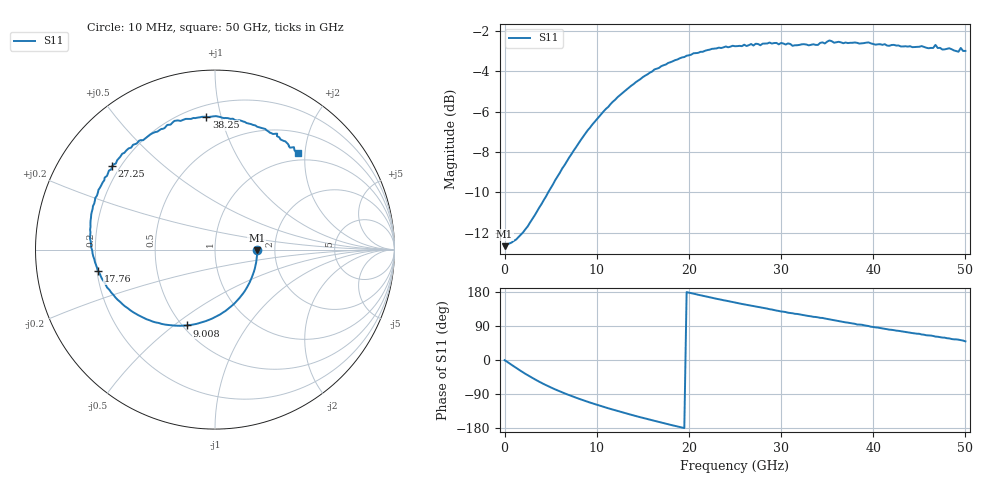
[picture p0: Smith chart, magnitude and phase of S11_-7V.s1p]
!Agilent Technologies,N5227A,US51270434,A.10.00.00
!Agilent N5227A: A.10.00.00
!Date: Thursday, February 26, 2026 12:01:23
!Correction: S11(Full 1 Port(1))
!S1P File: Measurement: S11:
# Hz S  dB  R 50
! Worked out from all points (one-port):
!   201 points, 10 MHz to 50 GHz, reference 50 ohm
!   lowest |S11| = -12.7 dB at 10 MHz (marker M1), VSWR 1.61, Z = 80.3 - j0.377 ohm
!   |S11| at or under -10 dB: start of sweep to 4.733 GHz
!   S11 on the Smith chart (normalised r, x): 10 MHz: 1.61, -0.01; 9.008 GHz: 0.53, -0.56; 17.76 GHz: 0.21, -0.09; 27.25 GHz: 0.17, +0.35; 38.25 GHz: 0.27, +0.90; 50 GHz: 0.86, +1.86
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1e7  -12.66 -0.5
1.5097e9  -12.21 -24.9
3.0094e9  -11.32 -47.2
4.75905e9  -9.98 -69.4
6.25875e9  -8.81 -85.5
9.0082e9  -6.93 -110.1
1.075785e10  -5.98 -123.7
1.25075e10  -5.19 -136.3
1.525695e10  -4.22 -154.3
1.775645e10  -3.59 -169.6
1.875625e10  -3.42 -175.4
2.05059e10  -3.11 175.1
2.20056e10  -2.95 166.9
2.5005e10  -2.76 151.6
2.725455e10  -2.64 141.0
3.0004e10  -2.60 128.0
3.125375e10  -2.74 123.3
3.525295e10  -2.48 107.5
3.75025e10  -2.59 97.4
3.825235e10  -2.59 93.7
3.875225e10  -2.62 93.1
3.975205e10  -2.62 87.8
4.375125e10  -2.78 72.9
4.625075e10  -2.85 64.5
4.675065e10  -2.70 61.8
4.925015e10  -3.03 53.6
4.95001e10  -2.85 52.4
5e10  -2.99 49.2
